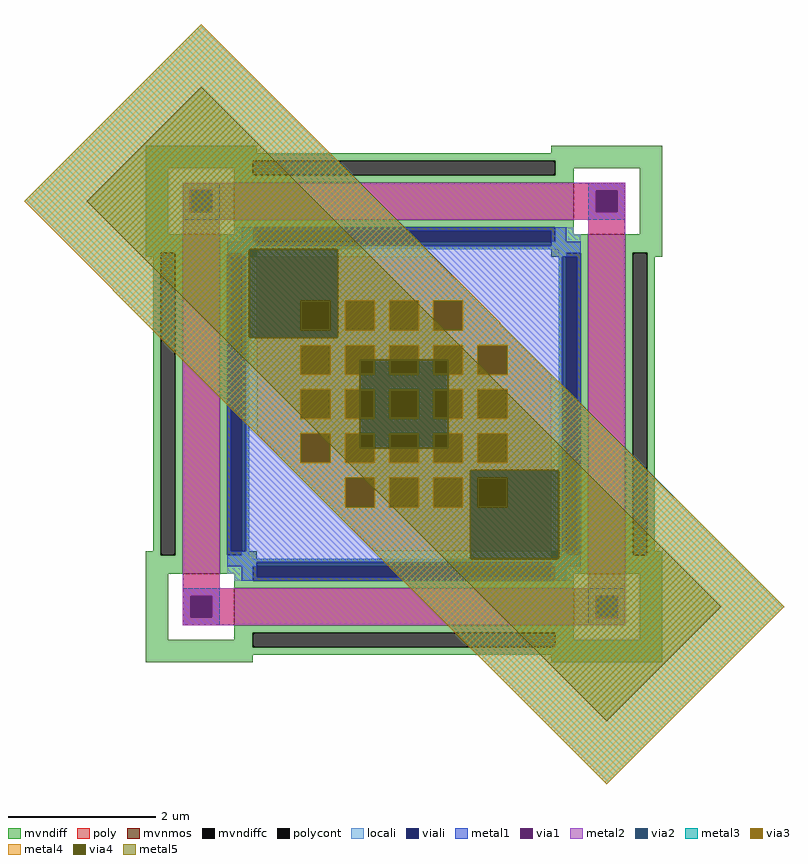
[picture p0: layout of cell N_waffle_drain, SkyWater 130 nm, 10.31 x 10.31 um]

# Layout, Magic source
magic
tech sky130A
magscale 1 2
<< mvnmos >>
rect -460 500 460 600
rect -600 -460 -500 460
rect 500 -460 600 460
rect -460 -600 460 -500
<< mvndiff >>
rect -700 680 -400 700
rect 400 680 700 700
rect -700 660 700 680
rect -700 640 -410 660
rect -700 460 -640 640
rect -460 620 -410 640
rect 410 640 700 660
rect 410 620 460 640
rect -460 600 460 620
rect -460 480 460 500
rect -460 460 -410 480
rect -700 410 -600 460
rect -700 400 -660 410
rect -680 -400 -660 400
rect -700 -410 -660 -400
rect -620 -410 -600 410
rect -700 -460 -600 -410
rect -500 440 -410 460
rect 410 460 460 480
rect 640 460 700 640
rect 410 440 500 460
rect -500 420 500 440
rect -500 410 -400 420
rect -500 -410 -480 410
rect -440 400 -400 410
rect 400 410 500 420
rect 400 400 440 410
rect -440 -400 -420 400
rect 420 -400 440 400
rect -440 -410 -400 -400
rect -500 -420 -400 -410
rect 400 -410 440 -400
rect 480 -410 500 410
rect 400 -420 500 -410
rect -500 -440 500 -420
rect -500 -460 -410 -440
rect -700 -640 -640 -460
rect -460 -480 -410 -460
rect 410 -460 500 -440
rect 600 410 700 460
rect 600 -410 620 410
rect 660 400 700 410
rect 660 -400 680 400
rect 660 -410 700 -400
rect 600 -460 700 -410
rect 410 -480 460 -460
rect -460 -500 460 -480
rect -460 -620 460 -600
rect -460 -640 -410 -620
rect -700 -660 -410 -640
rect 410 -640 460 -620
rect 640 -640 700 -460
rect 410 -660 700 -640
rect -700 -680 700 -660
rect -700 -700 -410 -680
rect 400 -700 700 -680
<< mvndiffc >>
rect -410 620 410 660
rect -660 -410 -620 410
rect -410 440 410 480
rect -480 -410 -440 410
rect 440 -410 480 410
rect -410 -480 410 -440
rect 620 -410 660 410
rect -410 -660 410 -620
<< poly >>
rect -600 580 -460 600
rect -600 520 -580 580
rect -520 520 -460 580
rect -600 500 -460 520
rect 460 580 600 600
rect 460 520 520 580
rect 580 520 600 580
rect 460 500 600 520
rect -600 460 -500 500
rect 500 460 600 500
rect -600 -500 -500 -460
rect 500 -500 600 -460
rect -600 -520 -460 -500
rect -600 -580 -580 -520
rect -520 -580 -460 -520
rect -600 -600 -460 -580
rect 460 -520 600 -500
rect 460 -580 520 -520
rect 580 -580 600 -520
rect 460 -600 600 -580
<< polycont >>
rect -580 520 -520 580
rect 520 520 580 580
rect -580 -580 -520 -520
rect 520 -580 580 -520
<< locali >>
rect -600 580 -500 600
rect -600 520 -580 580
rect -520 520 -500 580
rect -600 500 -500 520
rect 500 580 600 600
rect 500 520 520 580
rect 580 520 600 580
rect 500 500 600 520
rect -460 460 -410 480
rect -480 440 -410 460
rect 410 460 460 480
rect 410 440 480 460
rect -480 430 -400 440
rect 400 430 480 440
rect -480 420 480 430
rect -480 410 -420 420
rect -440 400 -420 410
rect -430 -400 -420 400
rect -440 -410 -420 -400
rect -480 -420 -420 -410
rect 420 410 480 420
rect 420 400 440 410
rect 420 -400 430 400
rect 420 -410 440 -400
rect 420 -420 480 -410
rect -480 -430 480 -420
rect -480 -440 -400 -430
rect 400 -440 480 -430
rect -480 -460 -410 -440
rect -460 -480 -410 -460
rect 410 -460 480 -440
rect 410 -480 460 -460
rect -600 -520 -500 -500
rect -600 -580 -580 -520
rect -520 -580 -500 -520
rect -600 -600 -500 -580
rect 500 -520 600 -500
rect 500 -580 520 -520
rect 580 -580 600 -520
rect 500 -600 600 -580
<< viali >>
rect -580 520 -520 580
rect 520 520 580 580
rect -400 440 400 470
rect -400 430 400 440
rect -470 -400 -440 400
rect -440 -400 -430 400
rect 430 -400 440 400
rect 440 -400 470 400
rect -400 -440 400 -430
rect -400 -470 400 -440
rect -580 -580 -520 -520
rect 520 -580 580 -520
<< metal1 >>
rect -600 580 -500 600
rect -600 520 -580 580
rect -520 520 -500 580
rect -600 500 -500 520
rect 500 580 600 600
rect 500 520 520 580
rect 580 520 600 580
rect 500 500 600 520
rect -440 470 440 480
rect -440 440 -400 470
rect -480 430 -400 440
rect 400 440 440 470
rect 400 430 480 440
rect -480 400 480 430
rect -480 -400 -470 400
rect -430 280 430 400
rect -430 200 -280 280
rect -200 200 -160 280
rect -80 200 -40 280
rect 40 200 80 280
rect 160 200 430 280
rect -430 160 430 200
rect -430 80 -280 160
rect -200 80 -160 160
rect -80 80 -40 160
rect 40 80 80 160
rect 160 80 200 160
rect 280 80 430 160
rect -430 40 430 80
rect -430 -40 -280 40
rect -200 -40 -160 40
rect -80 -40 -40 40
rect 40 -40 80 40
rect 160 -40 200 40
rect 280 -40 430 40
rect -430 -80 430 -40
rect -430 -160 -280 -80
rect -200 -160 -160 -80
rect -80 -160 -40 -80
rect 40 -160 80 -80
rect 160 -160 200 -80
rect 280 -160 430 -80
rect -430 -200 430 -160
rect -430 -280 -160 -200
rect -80 -280 -40 -200
rect 40 -280 80 -200
rect 160 -280 200 -200
rect 280 -280 430 -200
rect -430 -400 430 -280
rect 470 -400 480 400
rect -480 -430 480 -400
rect -480 -440 -400 -430
rect -440 -470 -400 -440
rect 400 -440 480 -430
rect 400 -470 440 -440
rect -440 -480 440 -470
rect -600 -520 -500 -500
rect -600 -580 -580 -520
rect -520 -580 -500 -520
rect -600 -600 -500 -580
rect 500 -520 600 -500
rect 500 -580 520 -520
rect 580 -580 600 -520
rect 500 -600 600 -580
<< via1 >>
rect -580 520 -520 580
rect 520 520 580 580
rect -280 200 -200 280
rect -160 200 -80 280
rect -40 200 40 280
rect 80 200 160 280
rect -280 80 -200 160
rect -160 80 -80 160
rect -40 80 40 160
rect 80 80 160 160
rect 200 80 280 160
rect -280 -40 -200 40
rect -160 -40 -80 40
rect -40 -40 40 40
rect 80 -40 160 40
rect 200 -40 280 40
rect -280 -160 -200 -80
rect -160 -160 -80 -80
rect -40 -160 40 -80
rect 80 -160 160 -80
rect 200 -160 280 -80
rect -160 -280 -80 -200
rect -40 -280 40 -200
rect 80 -280 160 -200
rect 200 -280 280 -200
rect -580 -580 -520 -520
rect 520 -580 580 -520
<< metal2 >>
rect -600 580 600 600
rect -600 520 -580 580
rect -520 520 520 580
rect 580 520 600 580
rect -600 500 600 520
rect -600 -500 -500 500
rect -400 280 80 400
tri 80 280 200 400 sw
rect -400 200 -280 280
rect -200 200 -160 280
rect -80 200 -40 280
rect 40 200 80 280
rect 160 200 200 280
rect -400 160 200 200
tri 200 160 320 280 sw
rect -400 80 -280 160
rect -200 80 -160 160
rect -80 80 -40 160
rect 40 80 80 160
rect 160 80 200 160
rect 280 80 320 160
tri 320 80 400 160 sw
rect -400 40 400 80
rect -400 -40 -280 40
rect -200 -40 -160 40
rect -80 -40 -40 40
rect 40 -40 80 40
rect 160 -40 200 40
rect 280 -40 400 40
rect -400 -80 400 -40
tri -400 -200 -280 -80 ne
rect -200 -160 -160 -80
rect -80 -160 -40 -80
rect 40 -160 80 -80
rect 160 -160 200 -80
rect 280 -160 400 -80
rect -280 -200 400 -160
tri -280 -280 -200 -200 ne
rect -200 -280 -160 -200
rect -80 -280 -40 -200
rect 40 -280 80 -200
rect 160 -280 200 -200
rect 280 -280 400 -200
tri -200 -400 -80 -280 ne
rect -80 -400 400 -280
rect 500 -500 600 500
rect -600 -520 600 -500
rect -600 -580 -580 -520
rect -520 -580 520 -520
rect 580 -580 600 -520
rect -600 -600 600 -580
<< via2 >>
rect -280 200 -200 280
rect -160 200 -80 280
rect -40 200 40 280
rect 80 200 160 280
rect -280 80 -200 160
rect -160 80 -80 160
rect -40 80 40 160
rect 80 80 160 160
rect 200 80 280 160
rect -280 -40 -200 40
rect -160 -40 -80 40
rect -40 -40 40 40
rect 80 -40 160 40
rect 200 -40 280 40
rect -280 -160 -200 -80
rect -160 -160 -80 -80
rect -40 -160 40 -80
rect 80 -160 160 -80
rect 200 -160 280 -80
rect -160 -280 -80 -200
rect -40 -280 40 -200
rect 80 -280 160 -200
rect 200 -280 280 -200
<< metal3 >>
tri -1031 550 -550 1031 se
tri -1031 69 -550 550 ne
tri -550 280 201 1031 sw
rect -550 200 -280 280
rect -200 200 -160 280
rect -80 200 -40 280
rect 40 200 80 280
rect 160 200 201 280
rect -550 160 201 200
tri 201 160 321 280 sw
rect -550 80 -280 160
rect -200 80 -160 160
rect -80 80 -40 160
rect 40 80 80 160
rect 160 80 200 160
rect 280 80 321 160
rect -550 69 321 80
tri -550 -200 -281 69 ne
rect -281 40 321 69
rect -281 -40 -280 40
rect -200 -40 -160 40
rect -80 -40 -40 40
rect 40 -40 80 40
rect 160 -40 200 40
rect 280 -40 321 40
rect -281 -80 321 -40
tri 321 -80 561 160 sw
rect -281 -160 -280 -80
rect -200 -160 -160 -80
rect -80 -160 -40 -80
rect 40 -160 80 -80
rect 160 -160 200 -80
rect 280 -160 561 -80
rect -281 -200 561 -160
tri -281 -280 -201 -200 ne
rect -201 -280 -160 -200
rect -80 -280 -40 -200
rect 40 -280 80 -200
rect 160 -280 200 -200
rect 280 -280 561 -200
tri -201 -1031 550 -280 ne
rect 550 -550 561 -280
tri 561 -550 1031 -80 sw
tri 550 -1031 1031 -550 nw
<< via3 >>
rect -280 200 -200 280
rect -160 200 -80 280
rect -40 200 40 280
rect 80 200 160 280
rect -280 80 -200 160
rect -160 80 -80 160
rect -40 80 40 160
rect 80 80 160 160
rect 200 80 280 160
rect -280 -40 -200 40
rect -160 -40 -80 40
rect -40 -40 40 40
rect 80 -40 160 40
rect 200 -40 280 40
rect -280 -160 -200 -80
rect -160 -160 -80 -80
rect -40 -160 40 -80
rect 80 -160 160 -80
rect 200 -160 280 -80
rect -160 -280 -80 -200
rect -40 -280 40 -200
rect 80 -280 160 -200
rect 200 -280 280 -200
<< metal4 >>
tri -1031 550 -550 1031 se
tri -1031 69 -550 550 ne
tri -550 420 61 1031 sw
rect -550 180 -420 420
rect -180 280 61 420
tri 61 280 201 420 sw
rect -180 200 -160 280
rect -80 200 -40 280
rect 40 200 80 280
rect 160 200 201 280
rect -180 180 201 200
rect -550 160 201 180
tri 201 160 321 280 sw
rect -550 80 -280 160
rect -200 80 -160 160
rect -80 120 -40 160
rect 40 120 80 160
rect 160 80 200 160
rect 280 80 321 160
rect -550 69 -120 80
tri -550 -200 -281 69 ne
rect -281 40 -120 69
rect 120 50 321 80
tri 321 50 431 160 sw
rect 120 40 431 50
rect -281 -40 -280 40
rect -200 -40 -160 40
rect 160 -40 200 40
rect 280 -40 431 40
rect -281 -80 -120 -40
rect 120 -80 431 -40
rect -281 -160 -280 -80
rect -200 -160 -160 -80
rect -80 -160 -40 -120
rect 40 -160 80 -120
rect 160 -160 200 -80
rect 280 -160 431 -80
rect -281 -180 431 -160
rect -281 -200 180 -180
tri -281 -280 -201 -200 ne
rect -201 -280 -160 -200
rect -80 -280 -40 -200
rect 40 -280 80 -200
rect 160 -280 180 -200
tri -201 -550 69 -280 ne
rect 69 -420 180 -280
rect 420 -420 431 -180
rect 69 -550 431 -420
tri 431 -550 1031 50 sw
tri 69 -1031 550 -550 ne
tri 550 -1031 1031 -550 nw
<< via4 >>
rect -420 280 -180 420
rect -420 200 -280 280
rect -280 200 -200 280
rect -200 200 -180 280
rect -420 180 -180 200
rect -120 80 -80 120
rect -80 80 -40 120
rect -40 80 40 120
rect 40 80 80 120
rect 80 80 120 120
rect -120 40 120 80
rect -120 -40 -80 40
rect -80 -40 -40 40
rect -40 -40 40 40
rect 40 -40 80 40
rect 80 -40 120 40
rect -120 -80 120 -40
rect -120 -120 -80 -80
rect -80 -120 -40 -80
rect -40 -120 40 -80
rect 40 -120 80 -80
rect 80 -120 120 -80
rect 180 -200 420 -180
rect 180 -280 200 -200
rect 200 -280 280 -200
rect 280 -280 420 -200
rect 180 -420 420 -280
<< metal5 >>
tri -861 550 -550 861 se
tri -861 420 -731 550 ne
rect -731 420 -550 550
tri -550 420 -109 861 sw
tri -731 120 -431 420 ne
rect -431 180 -420 420
rect -180 180 -109 420
rect -431 120 -109 180
tri -109 120 191 420 sw
tri -431 -180 -131 120 ne
rect -131 -120 -120 120
rect 120 -120 191 120
rect -131 -180 191 -120
tri 191 -180 491 120 sw
tri -131 -420 109 -180 ne
rect 109 -420 180 -180
rect 420 -420 491 -180
tri 109 -550 239 -420 ne
rect 239 -550 491 -420
tri 491 -550 861 -180 sw
tri 239 -861 550 -550 ne
tri 550 -861 861 -550 nw
<< end >>
